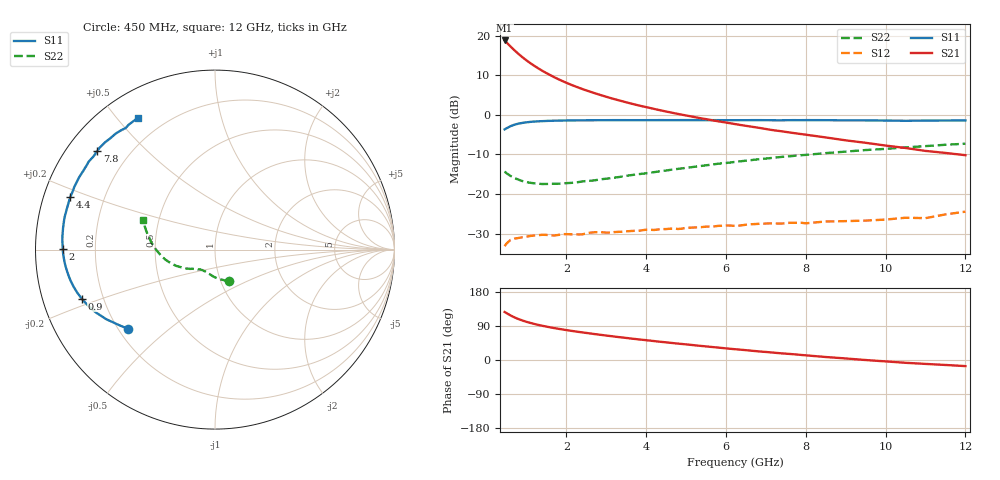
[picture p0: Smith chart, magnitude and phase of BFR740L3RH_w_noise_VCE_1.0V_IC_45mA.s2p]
! Infineon Technologies  Discrete & RF Semiconductors
! BFR740L3RH
! VCE =  1.0 V,  IC =  45 mA
! Common Emitter S-Parameters:  May 2012
# GHz  S  MA  R  50
!  f  S11  S21  S12  S22
! GHz  MAG  ANG  MAG  ANG  MAG  ANG  MAG  ANG
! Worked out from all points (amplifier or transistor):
!   85 points, 450 MHz to 12 GHz, reference 50 ohm
!   highest |S21| = 18.8 dB at 450 MHz (marker M1)
!   |S21| within 3 dB of that: start of sweep to 753.6 MHz
!   unconditionally stable (mu >= 1): start of sweep to end of sweep
!   at 1.8 GHz: K = 1.60, MAG = 15.1 dB, |S12| = -30.3 dB
!   at 4.6 GHz: K = 3.20, MAG = 6.7 dB, |S12| = -28.8 dB
!   at 12 GHz: K = 6.25, MAG = -3.8 dB, |S12| = -24.5 dB
!   lowest NFmin = 1.51 dB at 450 MHz
!   S11 on the Smith chart (normalised r, x): 450 MHz: 0.24, -0.37; 900 MHz: 0.12, -0.18; 2 GHz: 0.08, +0.00; 4.4 GHz: 0.08, +0.18; 7.8 GHz: 0.09, +0.36; 12 GHz: 0.11, +0.57
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0.45  0.6549 -137.6  8.703 126.7  0.0219 27.2  0.1919 -66.4
0.5  0.6765 -141.2  8.198 123.6  0.0237 27.1  0.1827 -70.9
0.6  0.7189 -147.3  7.291 117.5  0.0263 26.7  0.1688 -79.4
0.7  0.7514 -152.3  6.517 112.3  0.0273 25.5  0.1591 -86.5
0.8  0.7742 -156.4  5.869 107.9  0.0278 23.9  0.1514 -92.5
0.9  0.7915 -159.8  5.328 104.1  0.0284 22.7  0.1453 -97.4
1  0.8047 -162.8  4.87 100.7  0.0289 21.5  0.141 -101.4
1.1  0.8149 -165.4  4.48 97.8  0.0295 20.3  0.1382 -105.1
1.3  0.8281 -169.7  3.846 92.5  0.0302 19.0  0.1347 -111.6
1.5  0.8368 -173.2  3.365 88.1  0.0304 19.4  0.1338 -116.5
1.7  0.8428 -176.3  2.979 84.1  0.0299 18.9  0.1344 -120.6
2  0.8483 179.9  2.539 78.9  0.0311 18.5  0.1371 -125.0
2.4  0.8529 175.7  2.116 72.8  0.0309 18.9  0.1441 -130.0
3.2  0.8568 168.6  1.58 61.9  0.033 21.6  0.1607 -138.1
4.3  0.8574 160.6  1.156 48.7  0.0356 26.0  0.1919 -146.7
4.4  0.8576 160.0  1.128 47.6  0.036 26.2  0.195 -147.7
5.3  0.8571 153.9  0.918 37.9  0.0379 26.8  0.2236 -155.0
6.3  0.8556 147.9  0.753 27.8  0.0397 28.6  0.2566 -162.9
7.8  0.8561 139.9  0.579 14.2  0.0433 30.1  0.3066 -174.8
8.5  0.8558 135.7  0.518 7.9  0.0449 30.7  0.3282 -179.8
10.5  0.8405 126.3  0.381 -7.4  0.0501 33.8  0.3877 166.7
12  0.8493 120.2  0.309 -16.1  0.0598 40.0  0.4315 157.7
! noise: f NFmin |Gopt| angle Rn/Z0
0.45  1.51  0.26  180  0.12
0.9  1.55  0.26  180  0.11
1.5  1.64  0.28  180  0.11
1.9  1.72  0.29  -179  0.12
2.4  1.83  0.31  -176  0.12
3.5  2.12  0.34  -172  0.12
5.5  2.68  0.43  -158  0.15
8  3.35  0.46  -146  0.28
10  3.84  0.54  -130  0.47
12  4.29  0.57  -119  0.8
